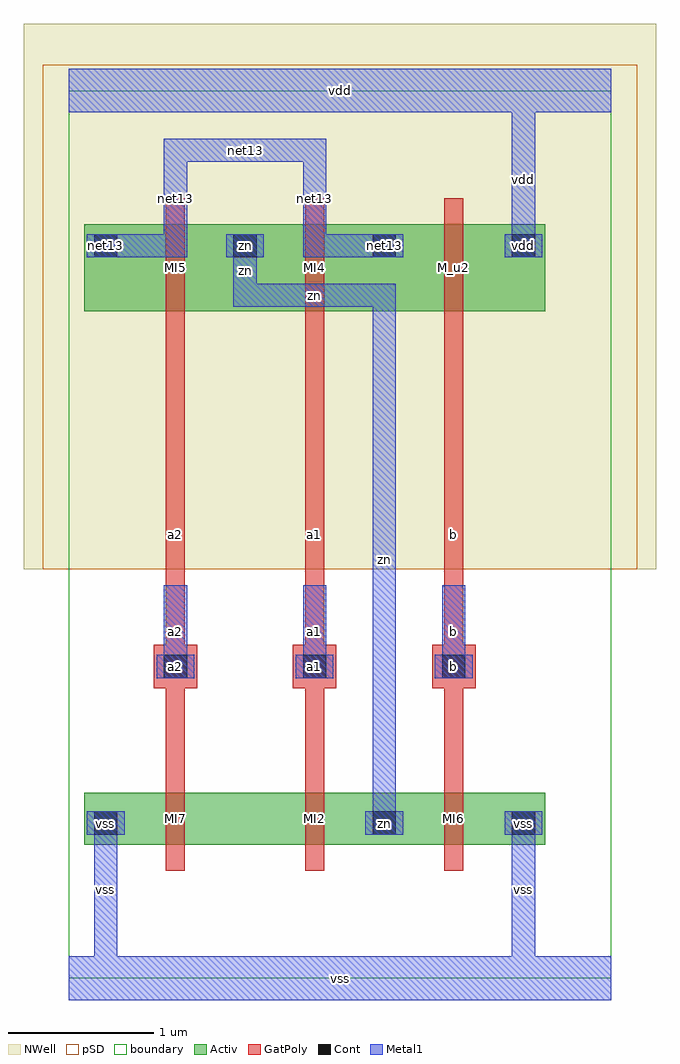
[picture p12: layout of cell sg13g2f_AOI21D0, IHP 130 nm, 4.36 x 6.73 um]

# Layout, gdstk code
import gdstk
lib = gdstk.Library(unit=1e-6, precision=1e-09)
def R(c, l, rs):  # rectangles x0, y0, x1, y1
    for r in rs: c.add(gdstk.rectangle(r[:2], r[2:], *l))
def A(c, l, x, y, w, h, nx, ny, dx, dy):  # array of equal rectangles
    R(c, l, [(x+i*dx, y+j*dy, x+i*dx+w, y+j*dy+h) for i in range(nx) for j in range(ny)])
Activ = (1, 0)
GatPoly = (5, 0)
Cont = (6, 0)
Metal1 = (8, 0)
pSD = (14, 0)
NWell = (31, 0)
TEXT = (63, 0)
boundary = (189, 4)

sg13g2f_aoi21d0 = lib.new_cell('sg13g2f_AOI21D0')
A(sg13g2f_aoi21d0, Activ, 0.105, 0.92, 1.26, 0.36, 3, 1, 0.96, 0)
A(sg13g2f_aoi21d0, Activ, 0.105, 4.6, 1.26, 0.6, 3, 1, 0.96, 0)
A(sg13g2f_aoi21d0, Activ, 0.105, 4.9, 0.3, 0.3, 4, 1, 0.96, 0)
R(sg13g2f_aoi21d0, Activ, [(0.105,0.92,0.405,1.22), (2.025,0.92,2.325,1.22), (2.985,0.92,3.285,1.22)])
A(sg13g2f_aoi21d0, GatPoly, 0.67, 0.74, 0.13, 0.72, 3, 1, 0.96, 0)
A(sg13g2f_aoi21d0, GatPoly, 0.67, 1.005, 0.13, 4.11, 3, 1, 0.96, 0)
A(sg13g2f_aoi21d0, GatPoly, 0.585, 2, 0.3, 0.3, 3, 1, 0.96, 0)
A(sg13g2f_aoi21d0, GatPoly, 0.67, 4.42, 0.13, 0.96, 3, 1, 0.96, 0)
A(sg13g2f_aoi21d0, Cont, 0.655, 2.07, 0.16, 0.16, 3, 1, 0.96, 0)
A(sg13g2f_aoi21d0, Cont, 0.175, 4.97, 0.16, 0.16, 4, 1, 0.96, 0)
R(sg13g2f_aoi21d0, Cont, [(0.175,0.99,0.335,1.15), (2.095,0.99,2.255,1.15), (3.055,0.99,3.215,1.15)])
A(sg13g2f_aoi21d0, Metal1, 0.605, 2.07, 0.26, 0.16, 3, 1, 0.96, 0)
A(sg13g2f_aoi21d0, Metal1, 0.655, 2.07, 0.16, 0.64, 3, 1, 0.96, 0)
A(sg13g2f_aoi21d0, Metal1, 0.125, 4.97, 0.26, 0.16, 4, 1, 0.96, 0)
R(sg13g2f_aoi21d0, Metal1, [(0,-0.15,3.74,0.15), (0.175,0.07,0.335,1.15), (3.055,0.07,3.215,1.15), (0.125,0.99,0.385,1.15), (2.045,0.99,2.305,1.15), (2.095,0.99,2.255,4.79), (3.005,0.99,3.265,1.15), (1.135,4.63,2.255,4.79), (1.135,4.63,1.295,5.13), (0.175,4.97,0.815,5.13), (0.655,4.97,0.815,5.79), (1.615,4.97,2.255,5.13), (1.615,4.97,1.775,5.79), (3.055,4.97,3.215,6.05), (0.655,5.63,1.775,5.79), (0,5.97,3.74,6.27)])
R(sg13g2f_aoi21d0, pSD, [(-0.18,2.82,3.92,5.94), (-0.18,5.94,3.92,6.3)])
R(sg13g2f_aoi21d0, NWell, [(-0.31,2.82,4.05,6.58)])
R(sg13g2f_aoi21d0, boundary, [(0,0,3.74,6.12)])
sg13g2f_aoi21d0.add(gdstk.FlexPath([(0.105,0.41),(3.285,0.41)], 0, ends="flush", simple_path=True, layer=63, datatype=0))  # TEXT
sg13g2f_aoi21d0.add(gdstk.FlexPath([(0.105,1.07),(3.285,1.07)], 0, ends="flush", simple_path=True, layer=63, datatype=0))  # TEXT
sg13g2f_aoi21d0.add(gdstk.FlexPath([(0.105,1.49),(3.285,1.49)], 0, ends="flush", simple_path=True, layer=63, datatype=0))  # TEXT
sg13g2f_aoi21d0.add(gdstk.FlexPath([(0.105,2.15),(3.285,2.15)], 0, ends="flush", simple_path=True, layer=63, datatype=0))  # TEXT
sg13g2f_aoi21d0.add(gdstk.FlexPath([(0.105,2.63),(3.285,2.63)], 0, ends="flush", simple_path=True, layer=63, datatype=0))  # TEXT
sg13g2f_aoi21d0.add(gdstk.FlexPath([(0.105,3.11),(3.285,3.11)], 0, ends="flush", simple_path=True, layer=63, datatype=0))  # TEXT
sg13g2f_aoi21d0.add(gdstk.FlexPath([(0.105,4.15),(3.285,4.15)], 0, ends="flush", simple_path=True, layer=63, datatype=0))  # TEXT
sg13g2f_aoi21d0.add(gdstk.FlexPath([(0.105,4.71),(3.285,4.71)], 0, ends="flush", simple_path=True, layer=63, datatype=0))  # TEXT
sg13g2f_aoi21d0.add(gdstk.FlexPath([(0.105,5.05),(3.285,5.05)], 0, ends="flush", simple_path=True, layer=63, datatype=0))  # TEXT
sg13g2f_aoi21d0.add(gdstk.FlexPath([(0.105,5.71),(3.285,5.71)], 0, ends="flush", simple_path=True, layer=63, datatype=0))  # TEXT
sg13g2f_aoi21d0.add(gdstk.FlexPath([(0.255,0.07),(0.255,6.05)], 0, ends="flush", simple_path=True, layer=63, datatype=0))  # TEXT
sg13g2f_aoi21d0.add(gdstk.FlexPath([(0.735,0.07),(0.735,6.05)], 0, ends="flush", simple_path=True, layer=63, datatype=0))  # TEXT
sg13g2f_aoi21d0.add(gdstk.FlexPath([(1.215,0.07),(1.215,6.05)], 0, ends="flush", simple_path=True, layer=63, datatype=0))  # TEXT
sg13g2f_aoi21d0.add(gdstk.FlexPath([(1.695,0.07),(1.695,6.05)], 0, ends="flush", simple_path=True, layer=63, datatype=0))  # TEXT
sg13g2f_aoi21d0.add(gdstk.FlexPath([(2.175,0.07),(2.175,6.05)], 0, ends="flush", simple_path=True, layer=63, datatype=0))  # TEXT
sg13g2f_aoi21d0.add(gdstk.FlexPath([(2.655,0.07),(2.655,6.05)], 0, ends="flush", simple_path=True, layer=63, datatype=0))  # TEXT
sg13g2f_aoi21d0.add(gdstk.FlexPath([(3.135,0.07),(3.135,6.05)], 0, ends="flush", simple_path=True, layer=63, datatype=0))  # TEXT
sg13g2f_aoi21d0.add(gdstk.Label('zn', (2.175,1.07), layer=6, texttype=0))
sg13g2f_aoi21d0.add(gdstk.Label('zn', (1.215,5.05), layer=6, texttype=0))
sg13g2f_aoi21d0.add(gdstk.Label('a1', (1.695,2.15), layer=6, texttype=0))
sg13g2f_aoi21d0.add(gdstk.Label('a2', (0.735,2.15), layer=6, texttype=0))
sg13g2f_aoi21d0.add(gdstk.Label('b', (2.655,2.15), layer=6, texttype=0))
sg13g2f_aoi21d0.add(gdstk.Label('net13', (0.255,5.05), layer=6, texttype=0))
sg13g2f_aoi21d0.add(gdstk.Label('net13', (2.175,5.05), layer=6, texttype=0))
sg13g2f_aoi21d0.add(gdstk.Label('vss', (0.255,1.07), layer=6, texttype=0))
sg13g2f_aoi21d0.add(gdstk.Label('vss', (3.135,1.07), layer=6, texttype=0))
sg13g2f_aoi21d0.add(gdstk.Label('vdd', (3.135,5.05), layer=6, texttype=0))
sg13g2f_aoi21d0.add(gdstk.Label('net13', (0.255,5.05), layer=8, texttype=0))
sg13g2f_aoi21d0.add(gdstk.Label('net13', (2.175,5.05), layer=8, texttype=0))
sg13g2f_aoi21d0.add(gdstk.Label('net13', (0.495,5.05), layer=8, texttype=0))
sg13g2f_aoi21d0.add(gdstk.Label('net13', (0.735,5.38), layer=8, texttype=0))
sg13g2f_aoi21d0.add(gdstk.Label('net13', (1.215,5.71), layer=8, texttype=0))
sg13g2f_aoi21d0.add(gdstk.Label('net13', (1.695,5.38), layer=8, texttype=0))
sg13g2f_aoi21d0.add(gdstk.Label('net13', (1.935,5.05), layer=8, texttype=0))
sg13g2f_aoi21d0.add(gdstk.Label('vss', (0.255,1.07), layer=8, texttype=0))
sg13g2f_aoi21d0.add(gdstk.Label('vss', (0.255,0.61), layer=8, texttype=0))
sg13g2f_aoi21d0.add(gdstk.Label('vss', (3.135,1.07), layer=8, texttype=0))
sg13g2f_aoi21d0.add(gdstk.Label('vss', (3.135,0.61), layer=8, texttype=0))
sg13g2f_aoi21d0.add(gdstk.Label('vdd', (3.135,5.05), layer=8, texttype=0))
sg13g2f_aoi21d0.add(gdstk.Label('vdd', (3.135,5.51), layer=8, texttype=0))
sg13g2f_aoi21d0.add(gdstk.Label('zn', (2.175,1.07), layer=8, texttype=2))
sg13g2f_aoi21d0.add(gdstk.Label('zn', (1.215,5.05), layer=8, texttype=2))
sg13g2f_aoi21d0.add(gdstk.Label('zn', (2.175,2.89), layer=8, texttype=2))
sg13g2f_aoi21d0.add(gdstk.Label('zn', (1.695,4.71), layer=8, texttype=2))
sg13g2f_aoi21d0.add(gdstk.Label('zn', (1.215,4.88), layer=8, texttype=2))
sg13g2f_aoi21d0.add(gdstk.Label('a1', (1.695,2.15), layer=8, texttype=2))
sg13g2f_aoi21d0.add(gdstk.Label('a1', (1.695,2.39), layer=8, texttype=2))
sg13g2f_aoi21d0.add(gdstk.Label('a2', (0.735,2.15), layer=8, texttype=2))
sg13g2f_aoi21d0.add(gdstk.Label('a2', (0.735,2.39), layer=8, texttype=2))
sg13g2f_aoi21d0.add(gdstk.Label('b', (2.655,2.15), layer=8, texttype=2))
sg13g2f_aoi21d0.add(gdstk.Label('b', (2.655,2.39), layer=8, texttype=2))
sg13g2f_aoi21d0.add(gdstk.Label('vss', (1.87,0), layer=8, texttype=2))
sg13g2f_aoi21d0.add(gdstk.Label('vdd', (1.87,6.12), layer=8, texttype=2))
sg13g2f_aoi21d0.add(gdstk.Label('zn', (2.175,1.07), layer=8, texttype=2))
sg13g2f_aoi21d0.add(gdstk.Label('zn', (1.215,5.05), layer=8, texttype=2))
sg13g2f_aoi21d0.add(gdstk.Label('zn', (2.175,2.89), layer=8, texttype=2))
sg13g2f_aoi21d0.add(gdstk.Label('zn', (1.695,4.71), layer=8, texttype=2))
sg13g2f_aoi21d0.add(gdstk.Label('zn', (1.215,4.88), layer=8, texttype=2))
sg13g2f_aoi21d0.add(gdstk.Label('a1', (1.695,2.15), layer=8, texttype=2))
sg13g2f_aoi21d0.add(gdstk.Label('a1', (1.695,2.39), layer=8, texttype=2))
sg13g2f_aoi21d0.add(gdstk.Label('a2', (0.735,2.15), layer=8, texttype=2))
sg13g2f_aoi21d0.add(gdstk.Label('a2', (0.735,2.39), layer=8, texttype=2))
sg13g2f_aoi21d0.add(gdstk.Label('b', (2.655,2.15), layer=8, texttype=2))
sg13g2f_aoi21d0.add(gdstk.Label('b', (2.655,2.39), layer=8, texttype=2))
sg13g2f_aoi21d0.add(gdstk.Label('vss', (1.87,0), layer=8, texttype=2))
sg13g2f_aoi21d0.add(gdstk.Label('vdd', (1.87,6.12), layer=8, texttype=2))
sg13g2f_aoi21d0.add(gdstk.Label('MI2', (1.695,1.1), layer=1, texttype=0))
sg13g2f_aoi21d0.add(gdstk.Label('MI7', (0.735,1.1), layer=1, texttype=0))
sg13g2f_aoi21d0.add(gdstk.Label('MI6', (2.655,1.1), layer=1, texttype=0))
sg13g2f_aoi21d0.add(gdstk.Label('MI5', (0.735,4.9), layer=1, texttype=0))
sg13g2f_aoi21d0.add(gdstk.Label('M_u2', (2.655,4.9), layer=1, texttype=0))
sg13g2f_aoi21d0.add(gdstk.Label('MI4', (1.695,4.9), layer=1, texttype=0))
sg13g2f_aoi21d0.add(gdstk.Label('zn', (2.175,1.07), layer=1, texttype=0))
sg13g2f_aoi21d0.add(gdstk.Label('zn', (1.215,5.05), layer=1, texttype=0))
sg13g2f_aoi21d0.add(gdstk.Label('net13', (0.255,5.05), layer=1, texttype=0))
sg13g2f_aoi21d0.add(gdstk.Label('net13', (2.175,5.05), layer=1, texttype=0))
sg13g2f_aoi21d0.add(gdstk.Label('vss', (0.255,1.07), layer=1, texttype=0))
sg13g2f_aoi21d0.add(gdstk.Label('vss', (3.135,1.07), layer=1, texttype=0))
sg13g2f_aoi21d0.add(gdstk.Label('vdd', (3.135,5.05), layer=1, texttype=0))
sg13g2f_aoi21d0.add(gdstk.Label('zn', (2.175,1.07), layer=8, texttype=25))
sg13g2f_aoi21d0.add(gdstk.Label('zn', (1.215,5.05), layer=8, texttype=25))
sg13g2f_aoi21d0.add(gdstk.Label('zn', (2.175,2.89), layer=8, texttype=25))
sg13g2f_aoi21d0.add(gdstk.Label('zn', (1.695,4.71), layer=8, texttype=25))
sg13g2f_aoi21d0.add(gdstk.Label('zn', (1.215,4.88), layer=8, texttype=25))
sg13g2f_aoi21d0.add(gdstk.Label('a1', (1.695,2.15), layer=8, texttype=25))
sg13g2f_aoi21d0.add(gdstk.Label('a1', (1.695,2.39), layer=8, texttype=25))
sg13g2f_aoi21d0.add(gdstk.Label('a2', (0.735,2.15), layer=8, texttype=25))
sg13g2f_aoi21d0.add(gdstk.Label('a2', (0.735,2.39), layer=8, texttype=25))
sg13g2f_aoi21d0.add(gdstk.Label('b', (2.655,2.15), layer=8, texttype=25))
sg13g2f_aoi21d0.add(gdstk.Label('b', (2.655,2.39), layer=8, texttype=25))
sg13g2f_aoi21d0.add(gdstk.Label('vss', (1.87,0), layer=8, texttype=25))
sg13g2f_aoi21d0.add(gdstk.Label('vdd', (1.87,6.12), layer=8, texttype=25))
sg13g2f_aoi21d0.add(gdstk.Label('a1', (1.695,3.06), layer=5, texttype=0))
sg13g2f_aoi21d0.add(gdstk.Label('a1', (1.695,2.15), layer=5, texttype=0))
sg13g2f_aoi21d0.add(gdstk.Label('a2', (0.735,3.06), layer=5, texttype=0))
sg13g2f_aoi21d0.add(gdstk.Label('a2', (0.735,2.15), layer=5, texttype=0))
sg13g2f_aoi21d0.add(gdstk.Label('b', (2.655,3.06), layer=5, texttype=0))
sg13g2f_aoi21d0.add(gdstk.Label('b', (2.655,2.15), layer=5, texttype=0))

lib.write_gds('sg13g2f_AOI21D0.gds')
